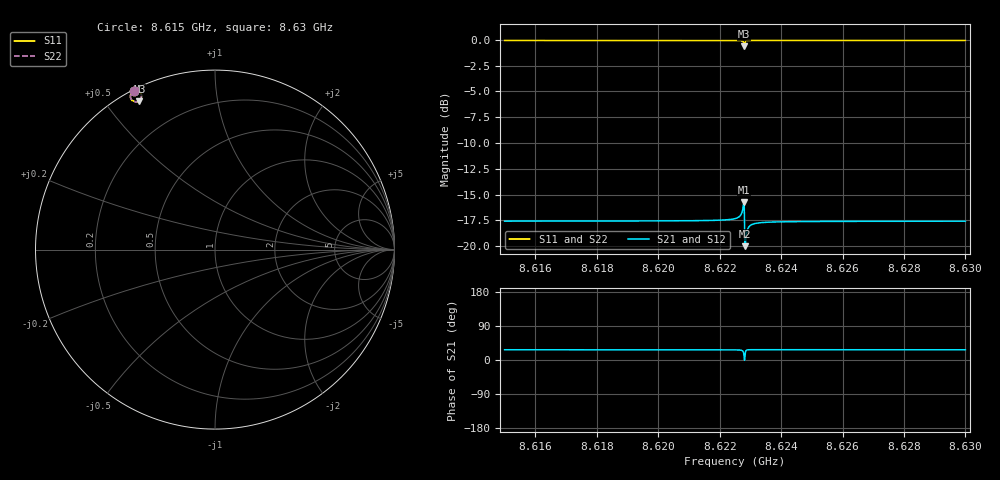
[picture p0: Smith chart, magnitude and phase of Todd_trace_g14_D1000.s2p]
! Sonnet Data File
! From: emgraph Version : 16.52
! From Project: 171114transmon_trace_brg
! Data is De-embedded
! Data File Written: 11/14/2017 19:58:17
!< HDATE 11/14/2017 18:03:22
!< MDATE 11/14/2017 18:03:22
!< PARAMS
!< Lj = 15.24
!< Gap = 14.0
!< Width = 10.0
!< Airgap = 6.0
!< Pwidth = 2000.0
!< Dist = 1000.0
!< END PARAMS
# GHZ S MA R 34.87000
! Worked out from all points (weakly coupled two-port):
!   3597 points, 8.615 GHz to 8.63 GHz, reference 34.87 ohm
!   highest |S21| = -15.71 dB at 8.62279 GHz (marker M1); lowest = -20.0 dB at 8.62283 GHz (marker M2)
!   lowest |S11| = -0.7 dB at 8.62281 GHz (marker M3), VSWR 26.60, Z = 1.8 + j21.3 ohm
!   |S11| at or under -10 dB: nowhere
!   |S22| runs from -0.6 to -0.1 dB; largest |S21 - S12| = 3.3e-13
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8.615  0.9912 117.1  0.1324 27.1  0.1324 27.1  0.9912 117.1
!< P1 F=8.615 Eeff=(5.13377404 -5.6313e-5) Z0=(34.6595714 -9.1612e-5) R=0.0 C=0.0
!< P2 F=8.615 Eeff=(5.13377404 -5.6313e-5) Z0=(34.6595714 -9.1612e-5) R=0.0 C=0.0
8.6175  0.9912 117.1  0.1325 27.1  0.1325 27.1  0.9912 117.0
8.62  0.9911 117.0  0.1327 27.0  0.1327 27.0  0.9911 117.0
8.62187  0.991 117.0  0.1336 27.0  0.1336 27.0  0.991 117.0
8.6225  0.9905 116.8  0.1361 26.7  0.1361 26.7  0.9905 116.8
8.62264  0.9895 116.6  0.1392 26.3  0.1392 26.3  0.9895 116.6
8.622695  0.9882 116.4  0.1424 25.8  0.1424 25.8  0.9882 116.4
8.62272  0.9868 116.3  0.145 25.3  0.145 25.3  0.9868 116.3
8.62273  0.9859 116.2  0.1464 24.9  0.1464 24.9  0.9859 116.2
8.62276  0.98 115.8  0.1532 22.8  0.1532 22.8  0.9801 115.8
8.62279  0.9536 115.4  0.1638 13.7  0.1638 13.7  0.9541 115.4
8.622805  0.9275 117.0  0.147 1.6  0.147 1.6  0.9284 117.0
8.62283  0.9698 119.1  0.1001 14.4  0.1001 14.4  0.9702 119.0
8.622875  0.989 118.0  0.1155 25.9  0.1155 25.9  0.989 118.0
8.6229  0.9904 117.8  0.1197 26.6  0.1197 26.6  0.9905 117.7
8.62295  0.9912 117.5  0.124 27.0  0.124 27.0  0.9913 117.5
8.623  0.9914 117.4  0.1262 27.1  0.1262 27.1  0.9914 117.4
8.623215  0.9915 117.2  0.1294 27.1  0.1294 27.1  0.9915 117.2
8.623745  0.9913 117.1  0.1311 27.1  0.1311 27.1  0.9913 117.1
8.625  0.9913 117.0  0.1318 27.0  0.1318 27.0  0.9913 117.0
8.6275  0.9912 117.0  0.1322 27.0  0.1322 27.0  0.9912 117.0
8.63  0.9912 117.0  0.1323 27.0  0.1323 27.0  0.9912 117.0
